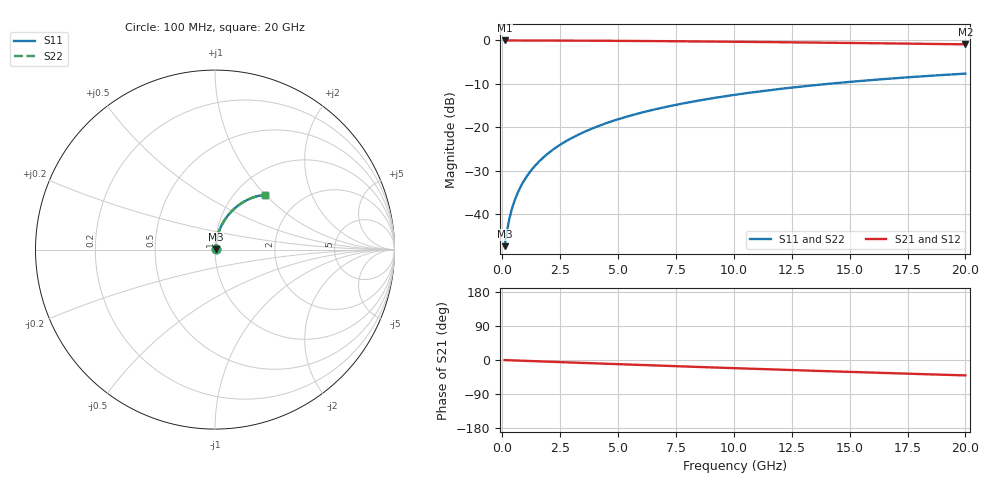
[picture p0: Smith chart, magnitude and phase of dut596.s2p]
! Touchstone file exported from HFSS 2026.1.0
!  File:  C:/ffzhzh/LocalFiles/Ansys_Project_Files/temp_train_TMRDL_596_1783008533_46388.aedt
!  Generated:  12:10:21 AM Jul  3, 2026
!  Design:  TMRDL
!  Project:  temp_train_TMRDL_596_1783008533_46388
! Variables:
!  h_bsmrdl = 2um
!  h_ox = 20um
!  h_rdl = 5um
!  h_sub = 80um
!  h_tmrdl = 3.7um
!  h_tsv = 80um
!  h_via = 3um
!  l_bsmrdl = 300um
!  l_sub = 963.8um
!  l_tmrdl = 563.8um
!  m_sub = 200um
!  pitch = 46.89um
!  r_tsv = 6um
!  s_tmrdl = 10um
!  w_bsmrdl = 18um
!  w_sub = 500um
!  w_tmrdl = 17.06um
!  x_tsv_center1 = 572.33um
!  x_tsv_center2 = 890.33um
!  x_tsv_center3 = 1471.19um
!  x_tsv_center4 = 1789.19um
!  x_tsv_center5 = 2370.05um
!  x_tsv_center6 = 2688.05um
# GHz S MA R 50.000000
! Terminal data exported
! Port[1] = TM_RDL1_1_T1
! Port[2] = TM_RDL1_1_T2
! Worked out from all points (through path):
!   200 points, 100 MHz to 20 GHz, reference 50 ohm
!   highest |S21| = -0.03 dB at 100 MHz (marker M1); lowest = -0.9 dB at 20 GHz (marker M2)
!   group delay of S21, straight-line fit = 5.65 ps
!   lowest |S11| = -47.4 dB at 100 MHz (marker M3), VSWR 1.01, Z = 50.3 + j0.268 ohm
!   |S11| at or under -10 dB: start of sweep to 14.13 GHz
!   |S22| runs from -47.4 to -7.7 dB; largest |S21 - S12| = 2.6e-15
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0.1  0.004247 38.9  0.9967 -0.2  0.9967 -0.2  0.004247 38.9
! Gamma 0 0 0 0
! Port Impedance 50 0 50 0
0.2  0.006305 57.0  0.9966 -0.5  0.9966 -0.5  0.006305 57.0
0.3  0.00864 65.3  0.9965 -0.7  0.9965 -0.7  0.00864 65.3
0.4  0.01104 69.9  0.9963 -0.9  0.9963 -0.9  0.01104 69.9
0.5  0.01346 72.8  0.9962 -1.1  0.9962 -1.1  0.01346 72.8
0.6  0.01589 74.8  0.9961 -1.4  0.9961 -1.4  0.01589 74.8
0.8  0.02077 77.3  0.9959 -1.8  0.9959 -1.8  0.02077 77.3
1.1  0.02814 79.3  0.9956 -2.5  0.9956 -2.5  0.02814 79.3
1.5  0.03801 80.3  0.9951 -3.4  0.9951 -3.4  0.03801 80.3
1.8  0.04542 80.6  0.9947 -4.0  0.9947 -4.0  0.04542 80.6
2.1  0.05282 80.5  0.9942 -4.7  0.9942 -4.7  0.05282 80.5
2.7  0.06759 80.0  0.9931 -6.0  0.9931 -6.0  0.06759 80.1
3.5  0.08713 78.9  0.9912 -7.8  0.9912 -7.8  0.08712 78.9
4.2  0.104 77.7  0.9892 -9.3  0.9892 -9.3  0.104 77.7
5  0.1231 76.2  0.9865 -11.0  0.9865 -11.0  0.1231 76.2
5.9  0.1442 74.5  0.9831 -13.0  0.9831 -13.0  0.1442 74.5
6.8  0.1648 72.7  0.9793 -14.9  0.9793 -14.9  0.1648 72.7
8.3  0.1983 69.7  0.9723 -18.0  0.9723 -18.0  0.1983 69.7
10.1  0.2369 66.1  0.9628 -21.7  0.9628 -21.7  0.2369 66.2
13.4  0.3025 59.8  0.9432 -28.3  0.9432 -28.3  0.3025 59.8
16.7  0.3615 53.7  0.9217 -34.6  0.9217 -34.6  0.3615 53.7
20  0.4134 47.8  0.8993 -40.6  0.8993 -40.6  0.4134 47.9
